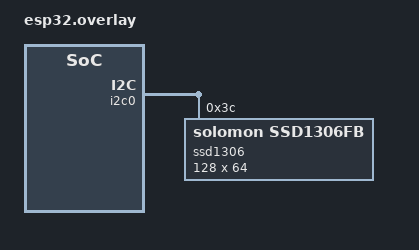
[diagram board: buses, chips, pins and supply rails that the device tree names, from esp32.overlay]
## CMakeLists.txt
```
cmake_minimum_required(VERSION 3.31)
set(BOARD esp32_devkitc_wroom/esp32/procpu)
set(DTC_OVERLAY_FILE "esp32.overlay")

find_package(Zephyr)
project(display_ssd1306)

target_sources(app PRIVATE src/main.c)
```

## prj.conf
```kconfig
CONFIG_I2C=y
CONFIG_DISPLAY=y
CONFIG_SSD1306=y
CONFIG_SSD1306_DEFAULT_CONTRAST=128
CONFIG_LOG=y
CONFIG_CHARACTER_FRAMEBUFFER=y
```

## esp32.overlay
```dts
&i2c0 {
    ssd1306: ssd1306@3c{
        compatible = "solomon,ssd1306fb";
        reg = <0x3c>;
        height = <64>;
        width = <128>; 
        segment-offset = <0>;
        page-offset = <0>;
        display-offset = <0>;
        multiplex-ratio = <63>;
        prechargep = <0x22>;
        com-invdir;
        segment-remap;
    };
};
```

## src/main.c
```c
#include <zephyr/kernel.h>
#include <zephyr/device.h>
#include <zephyr/display/cfb.h>
#include <zephyr/logging/log.h>
#include "photos.h"
#include <stdint.h>
#include <zephyr/drivers/display.h>


LOG_MODULE_REGISTER(display);
static const struct device *display = DEVICE_DT_GET(DT_NODELABEL(ssd1306));

void main(void)
{
    if (display == NULL)
    {
        LOG_ERR("Device not found");
        return;
    }

    if (!device_is_ready(display))
    {
        LOG_ERR("Device not ready");
        return;
    }

    int ret;
 /*   ret = cfb_framebuffer_init(display);
    if (ret < 0)
    {
        LOG_ERR("Framebuffer initialization failed");
        return;
    }

    ret = cfb_print(display, "Hello World", 0, 0);
    if (ret < 0)
    {
        LOG_ERR("Print failed");
        return;
    }

    ret = cfb_framebuffer_finalize(display);
    if (ret < 0)
    {
        LOG_ERR("Framebuffer finalization failed");
        return;
    }

    LOG_INF("Display initialized");
   */ 

   struct display_capabilities capabilities;
   display_get_capabilities(display, &capabilities);

    LOG_INF("x_resolution: %d", capabilities.x_resolution);
    LOG_INF("y_resolution: %d", capabilities.y_resolution);
    LOG_INF("supported_pixel_formats: %d", capabilities.supported_pixel_formats);
    LOG_INF("sceen_info: %d", capabilities.screen_info);
    LOG_INF("current_pixel_format: %d", capabilities.current_pixel_format);
    LOG_INF("current_orientation: %d", capabilities.current_orientation);

   const struct display_buffer_descriptor buf_desc = {
        .buf_size = capabilities.x_resolution * capabilities.y_resolution,
        .width = capabilities.x_resolution,
        .height = capabilities.y_resolution,
        .pitch = 128,
    };

    if (display_write(display, 0, 0, &buf_desc, omar) != 0)
    {
        LOG_ERR("Failed to write to display");
        return;
    }

    if (display_set_contrast(display, 0) != 0)
    {
        LOG_ERR("Failed to set contrast");
        return;
    }

    size_t ms_sleep = 10;

    while (1)
    {
        for (size_t i = 0; i < 255; i++)
        {
            display_set_contrast(display, i);
            k_msleep(ms_sleep);
        }

        for (size_t i = 255; i > 0; i--)
        {
            display_set_contrast(display, i);
            k_msleep(ms_sleep);
        }

        if (display_write(display, 0, 0, &buf_desc, omar) != 0)
        {
            LOG_ERR("Failed to write to display");
            return;
        }
        for (size_t i = 0; i < 255; i++)
        {
            display_set_contrast(display, i);
            k_msleep(ms_sleep);
        }

        for (size_t i = 255; i > 0; i--)
        {
            display_set_contrast(display, i);
            k_msleep(ms_sleep);
        }
        
        if (display_write(display, 0, 0, &buf_desc, ibbe) != 0)
        {
            LOG_ERR("Failed to write to display");
            return;
        }
        for (size_t i = 0; i < 255; i++)
        {
            display_set_contrast(display, i);
            k_msleep(ms_sleep);
        }

        for (size_t i = 255; i > 0; i--)
        {
            display_set_contrast(display, i);
            k_msleep(ms_sleep);
        }
        
        if (display_write(display, 0, 0, &buf_desc, omar_julia) != 0)
        {
            LOG_ERR("Failed to write to display");
            return;
        }
        
        for (size_t i = 0; i < 255; i++)
        {
            display_set_contrast(display, i);
            k_msleep(ms_sleep);
        }

        for (size_t i = 255; i > 0; i--)
        {
            display_set_contrast(display, i);
            k_msleep(ms_sleep);
        }
        
        if (display_write(display, 0, 0, &buf_desc, josef) != 0)
        {
            LOG_ERR("Failed to write to display");
            return;
        }

    }

    
}
    
```
